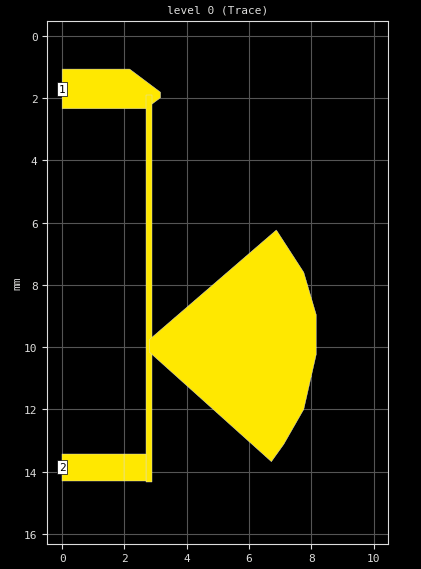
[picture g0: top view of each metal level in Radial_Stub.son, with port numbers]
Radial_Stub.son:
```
FTYP SONPROJ 19 ! Sonnet Project File
VER 18.53
HEADER
LIC SL64e88c52
DAT 09/17/2023 11:25:36
BUILT_BY_CREATED example 18.53 10/19/2021 01:59:07
BUILT_BY_SAVED sonnet 18.53-Lite
MDATE 09/17/2023 11:25:36
HDATE 09/17/2023 11:25:36
END HEADER
DIM
ANG DEG
CAP PF
CON /OH
FREQ GHZ
IND NH
LNG MM
RES OH
END DIM
CONTROL
VARSWP
OPTIONS  -dj
SPEED 0
CACHE_ABS 2
Q_ACC N
END CONTROL
GEO
DRP1 LEFT LINK
POLY 724 1
0
TMET "Cover" 1 NOR 40900000 0.5 0.00254 
BMET "Cover" 1 NOR 40900000 0.5 0.00254 
MET "Gold_trace" 2 NOR 40900000 0.5 0.00254 
MET "Gold_Via" 1 VOL 40900000 0.00254
BOX 1 10 15.84 250 396 20 0
      3.81 1 1 0 0 0 0 "Air"
      0.508 3.48 1 0.0029 0 0 0 "Rogers RO4003C"
TECHLAY METAL Trace <UNSPECIFIED> -2 -65534 
0 0 0 N 550 1 1 100 100 0 0 0 Y
END
END
TECHLAY VIA Via_Gnd <UNSPECIFIED> -3 -65534 
VIA POLYGON
1 0 1 N 790 1 1 100 100 0 0 0 Y
TOLEVEL 0 RING COVERS
END
END
VALVAR L1_1 NONE 8.1435045706955 ""
VALVAR SCALE NONE "7.5/7.2" ""
DIM STD XDIR 1
POS 4.070359799 -4.879863476
NOM 5.36
REF1 POLY 801 1
0
REF2 POLY 801 1
4
END
LORGN 0 15.84 U 
POR1 BOX
POLY 15 1
3
1 50 0 0 0 0 1.709446569 
POR1 BOX
POLY 724 1
2
2 50 0 0 0 0 13.85204082 
NUM 5
0 7 0 N 15 1 1 100 100 0 0 0 Y
TLAYNAM Trace INH
3.16050739 1.99243004
3.16050739 1.816551101
2.168232358 1.072344828
0 1.072344828
0 2.346548311
2.688349697 2.346548311
3.16050739 1.99243004
END
0 5 0 N 718 1 1 100 100 0 0 0 Y
TLAYNAM Trace INH
2.688349697 1.92
2.88 1.92
2.88 14.32
2.688349697 14.32
2.688349697 1.92
END
0 5 0 N 723 1 1 100 100 0 0 0 Y
TLAYNAM Trace INH
2 13.41836735
2.688349697 13.41836735
2.688349697 14.28571429
2 14.28571429
2 13.41836735
END
0 5 0 N 724 1 1 100 100 0 0 0 Y
TLAYNAM Trace INH
2 14.28571429
2 13.41836735
0 13.41836735
0 14.28571429
2 14.28571429
END
0 10 0 N 801 1 1 100 100 0 0 0 Y
TLAYNAM Trace INH
2.8 9.76
6.88 6.24
7.76 7.6
8.16 8.96
8.16 10.24
7.76 12
7.12 13.12
6.72 13.68
2.8 10.16
2.8 9.76
END
END GEO
OPT
MAX 100
END OPT
VARSWP
ENABLED Y
FREQ Y AY ABS_ENTRY 4.8 6.0 -1 300 
FREQ N AY ABS_ENTRY 4.0 8.0 -1 300 
FREQ N AN STEP 5.32
END
END VARSWP
3DOPTIONS
GLOBAL 1
ALL 2 1
END 3DOPTIONS
```
